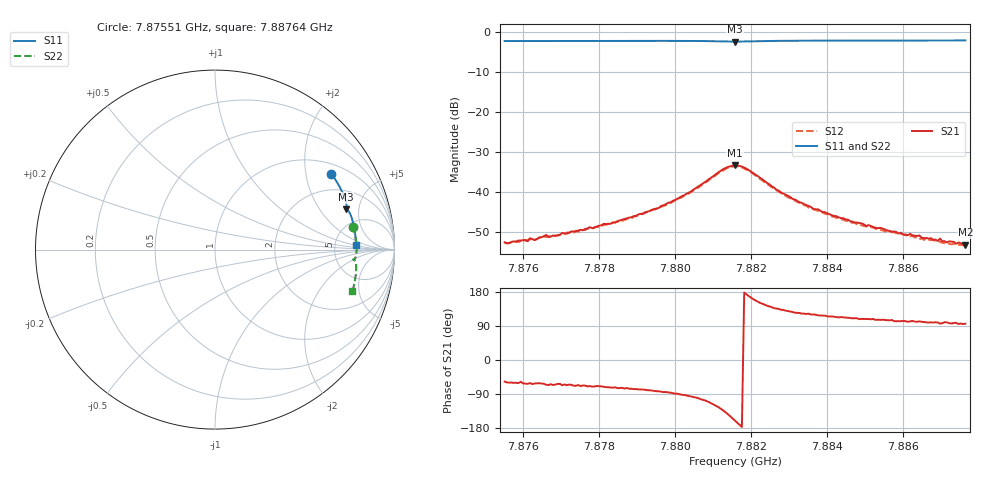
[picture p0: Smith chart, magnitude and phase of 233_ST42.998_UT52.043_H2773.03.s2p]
#  HZ  S  DB  R  50.00
! Rohde & Schwarz Vector Network Analyzer
! Rohde-Schwarz,ZNB20-2Port,1311601062101988,3.16
! Created: UTC 1/12/2023, 6:46:46 PM
! freq[Hz]  db:S11  ang:S11  db:S21  ang:S21  db:S12  ang:S12  db:S22  ang:S22
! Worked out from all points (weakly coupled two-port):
!   201 points, 7.87551 GHz to 7.88764 GHz, reference 50 ohm
!   highest |S21| = -33.31 dB at 7.88157 GHz (marker M1); lowest = -53.1 dB at 7.88764 GHz (marker M2)
!   lowest |S11| = -2.4 dB at 7.88157 GHz (marker M3), VSWR 7.41, Z = 168 + j181 ohm
!   |S11| at or under -10 dB: nowhere
!   |S22| runs from -2.3 to -1.9 dB; largest |S21 - S12| = 0.0014
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7.875506e9  -2.23 33.1  -52.53 -57.0  -52.60 -62.8  -2.15 9.5
7.876113e9  -2.21 31.5  -52.26 -63.0  -51.89 -63.4  -2.14 8.0
7.876174e9  -2.21 31.3  -51.50 -60.8  -51.80 -65.0  -2.14 7.9
7.876295e9  -2.21 31.0  -51.97 -62.1  -51.93 -65.4  -2.13 7.6
7.876598e9  -2.20 30.2  -50.65 -65.2  -51.21 -68.4  -2.13 6.9
7.876659e9  -2.20 30.0  -51.22 -66.1  -51.03 -65.4  -2.12 6.8
7.877569e9  -2.20 27.5  -49.52 -67.2  -49.40 -71.0  -2.10 4.7
7.878842e9  -2.17 24.0  -46.25 -75.8  -46.55 -79.9  -2.07 1.7
7.87957e9  -2.18 22.0  -43.91 -82.5  -43.92 -86.0  -2.06 -0.0
7.880419e9  -2.20 19.6  -39.79 -96.4  -39.95 -99.8  -2.08 -2.1
7.881269e9  -2.31 17.4  -34.20 -133.7  -34.50 -136.8  -2.20 -4.1
7.881572e9  -2.36 17.2  -33.31 -160.0  -33.51 -163.2  -2.24 -4.1
7.881875e9  -2.32 17.0  -34.14 173.0  -34.37 169.6  -2.21 -4.1
7.882967e9  -2.16 14.1  -40.88 129.1  -41.29 125.5  -2.03 -6.4
7.883634e9  -2.13 12.3  -44.16 120.2  -44.29 116.0  -2.00 -8.0
7.884786e9  -2.11 9.2  -47.56 110.1  -48.05 106.9  -1.97 -10.7
7.885636e9  -2.10 6.9  -49.70 104.5  -49.98 102.7  -1.95 -12.6
7.886424e9  -2.09 4.8  -50.81 102.1  -51.67 98.0  -1.95 -14.3
7.886909e9  -2.09 3.6  -52.18 99.0  -52.14 96.4  -1.94 -15.3
7.88697e9  -2.08 3.4  -51.60 95.9  -52.40 96.2  -1.95 -15.4
7.887152e9  -2.08 2.9  -52.56 99.3  -52.66 95.8  -1.94 -15.8
7.887637e9  -2.08 1.7  -53.13 95.8  -53.49 92.7  -1.94 -16.9
